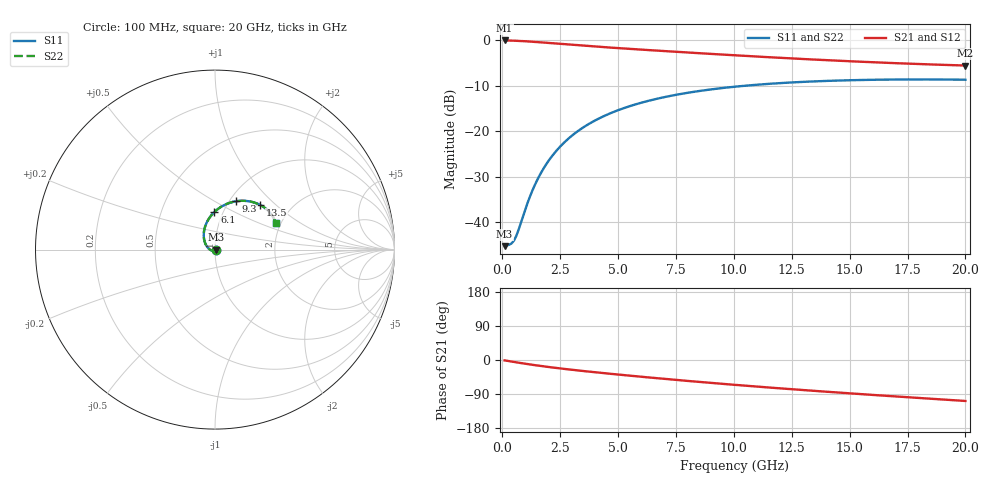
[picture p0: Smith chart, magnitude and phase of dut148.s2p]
! Touchstone file exported from HFSS 2024.1.0
!  File:  C:/UserFiles/LocalFiles/RDL_TSV_Batchsim/temp_RDL_TSV_148_1779431266.aedt
!  Generated:  02:41:36 PM May 22, 2026
!  Design:  RDL_TSV
!  Project:  temp_RDL_TSV_148_1779431266
!  Setup:  Setup1
!  Solution:  Sweep
! Variables:
!  dtsv = 8.81um
!  hbump = 3um
!  htsv = 60.77um
!  ldown = 260.25um
!  lrdl = 161.96um
!  p = 40
!  p1 = 54.33um
!  rhole = 10um
!  subl = 1428.59um
!  t = 450um
!  tdown = 4.85um
!  trdl = 4.61um
!  viad = 10um
!  wdown = 22.35um
!  wrdl = 28.27um
!  xbump = 18um
# GHz S MA R 50.000000
! Terminal data exported
! Port[1] = TM1_1_T1
! Port[2] = TM1_4_T1
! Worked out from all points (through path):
!   200 points, 100 MHz to 20 GHz, reference 50 ohm
!   highest |S21| = -0.05 dB at 100 MHz (marker M1); lowest = -5.6 dB at 20 GHz (marker M2)
!   group delay of S21, straight-line fit = 14.2 ps
!   lowest |S11| = -45.2 dB at 100 MHz (marker M3), VSWR 1.01, Z = 50.5 - j0.113 ohm
!   |S11| at or under -10 dB: start of sweep to 10.47 GHz
!   |S22| runs from -45.2 to -8.6 dB; largest |S21 - S12| = 6.7e-14
!   S11 on the Smith chart (normalised r, x): 100 MHz: 1.01, -0.00; 6.1 GHz: 0.91, +0.40; 9.3 GHz: 1.08, +0.63; 13.5 GHz: 1.41, +0.80; 20 GHz: 1.87, +0.64
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0.1  0.005474 -11.8  0.9942 -1.0  0.9942 -1.0  0.005474 -11.8
! Gamma 0 0 0 0
! Port Impedance 50 0 50 0
0.4  0.005867 -59.6  0.9903 -4.1  0.9903 -4.1  0.005867 -59.6
0.5  0.006286 -78.4  0.9882 -5.1  0.9882 -5.1  0.006285 -78.4
0.7  0.008241 -113.2  0.9833 -7.1  0.9833 -7.1  0.008241 -113.2
1.1  0.01657 -157.1  0.9705 -10.8  0.9705 -10.8  0.01658 -157.1
1.3  0.02235 -170.4  0.9629 -12.6  0.9629 -12.6  0.02236 -170.4
1.6  0.03237 174.5  0.9506 -15.2  0.9506 -15.2  0.03238 174.5
1.9  0.04356 162.9  0.9377 -17.7  0.9377 -17.7  0.04358 162.9
2.2  0.05553 153.4  0.9245 -20.0  0.9245 -20.0  0.05556 153.4
2.6  0.07221 142.8  0.9073 -23.0  0.9073 -23.0  0.07224 142.8
3  0.08922 133.9  0.8907 -25.8  0.8907 -25.8  0.08926 133.9
3.5  0.1104 124.4  0.8711 -29.1  0.8711 -29.1  0.1105 124.4
4.1  0.1353 114.8  0.8493 -32.9  0.8493 -32.9  0.1353 114.8
4.7  0.159 106.6  0.8289 -36.6  0.8289 -36.6  0.1591 106.6
6.1  0.2092 91.0  0.7857 -44.8  0.7857 -44.8  0.2092 91.0
6.8  0.2313 84.6  0.7657 -48.7  0.7657 -48.7  0.2314 84.6
9.3  0.2944 66.2  0.7007 -61.9  0.7007 -61.9  0.2946 66.2
10.1  0.3098 61.4  0.6818 -65.9  0.6818 -65.9  0.3099 61.4
13.4  0.3527 45.2  0.6145 -81.1  0.6145 -81.1  0.3528 45.2
13.5  0.3535 44.7  0.6127 -81.6  0.6127 -81.6  0.3537 44.8
16.7  0.3697 33.0  0.5636 -95.0  0.5636 -95.0  0.3699 33.0
20  0.3682 23.7  0.5272 -108.1  0.5272 -108.1  0.3684 23.7
